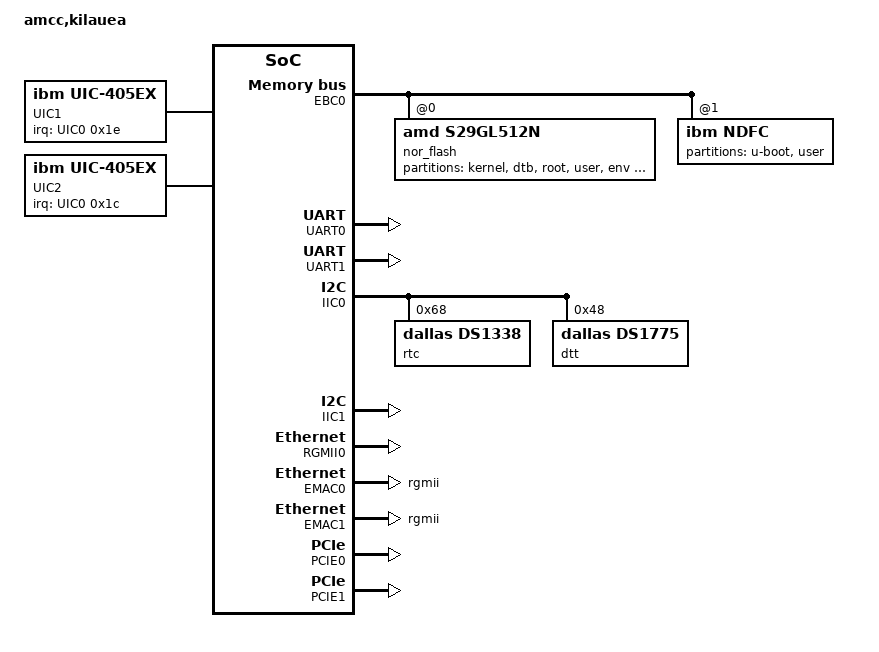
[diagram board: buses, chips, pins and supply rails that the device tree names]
/*
 * Device Tree Source for AMCC Kilauea (405EX)
 *
 * Copyright 2007-2009 DENX Software Engineering, Stefan Roese <sr@denx.de>
 *
 * This file is licensed under the terms of the GNU General Public
 * License version 2.  This program is licensed "as is" without
 * any warranty of any kind, whether express or implied.
 */

/dts-v1/;

/ {
	#address-cells = <1>;
	#size-cells = <1>;
	model = "amcc,kilauea";
	compatible = "amcc,kilauea";
	dcr-parent = <&{/cpus/cpu@0}>;

	aliases {
		ethernet0 = &EMAC0;
		ethernet1 = &EMAC1;
		serial0 = &UART0;
		serial1 = &UART1;
	};

	cpus {
		#address-cells = <1>;
		#size-cells = <0>;

		cpu@0 {
			device_type = "cpu";
			model = "PowerPC,405EX";
			reg = <0x00000000>;
			clock-frequency = <0>; /* Filled in by U-Boot */
			timebase-frequency = <0>; /* Filled in by U-Boot */
			i-cache-line-size = <32>;
			d-cache-line-size = <32>;
			i-cache-size = <16384>; /* 16 kB */
			d-cache-size = <16384>; /* 16 kB */
			dcr-controller;
			dcr-access-method = "native";
		};
	};

	memory {
		device_type = "memory";
		reg = <0x00000000 0x00000000>; /* Filled in by U-Boot */
	};

	UIC0: interrupt-controller {
		compatible = "ibm,uic-405ex", "ibm,uic";
		interrupt-controller;
		cell-index = <0>;
		dcr-reg = <0x0c0 0x009>;
		#address-cells = <0>;
		#size-cells = <0>;
		#interrupt-cells = <2>;
	};

	UIC1: interrupt-controller1 {
		compatible = "ibm,uic-405ex","ibm,uic";
		interrupt-controller;
		cell-index = <1>;
		dcr-reg = <0x0d0 0x009>;
		#address-cells = <0>;
		#size-cells = <0>;
		#interrupt-cells = <2>;
		interrupts = <0x1e 0x4 0x1f 0x4>; /* cascade */
		interrupt-parent = <&UIC0>;
	};

	UIC2: interrupt-controller2 {
		compatible = "ibm,uic-405ex","ibm,uic";
		interrupt-controller;
		cell-index = <2>;
		dcr-reg = <0x0e0 0x009>;
		#address-cells = <0>;
		#size-cells = <0>;
		#interrupt-cells = <2>;
		interrupts = <0x1c 0x4 0x1d 0x4>; /* cascade */
		interrupt-parent = <&UIC0>;
	};

	CPM0: cpm {
		compatible = "ibm,cpm";
		dcr-access-method = "native";
		dcr-reg = <0x0b0 0x003>;
		unused-units = <0x00000000>;
		idle-doze = <0x02000000>;
		standby = <0xe3e74800>;
	};

	plb {
		compatible = "ibm,plb-405ex", "ibm,plb4";
		#address-cells = <1>;
		#size-cells = <1>;
		ranges;
		clock-frequency = <0>; /* Filled in by U-Boot */

		SDRAM0: memory-controller {
			compatible = "ibm,sdram-405ex", "ibm,sdram-4xx-ddr2";
			dcr-reg = <0x010 0x002>;
			interrupt-parent = <&UIC2>;
			interrupts = <0x5 0x4	/* ECC DED Error */ 
				      0x6 0x4>;	/* ECC SEC Error */ 
		};

		CRYPTO: crypto@ef700000 {
			compatible = "amcc,ppc405ex-crypto", "amcc,ppc4xx-crypto";
			reg = <0xef700000 0x80400>;
			interrupt-parent = <&UIC0>;
			interrupts = <0x17 0x2>;
		};

		MAL0: mcmal {
			compatible = "ibm,mcmal-405ex", "ibm,mcmal2";
			dcr-reg = <0x180 0x062>;
			num-tx-chans = <2>;
			num-rx-chans = <2>;
			interrupt-parent = <&MAL0>;
			interrupts = <0x0 0x1 0x2 0x3 0x4>;
			#interrupt-cells = <1>;
			#address-cells = <0>;
			#size-cells = <0>;
			interrupt-map = </*TXEOB*/ 0x0 &UIC0 0xa 0x4
					/*RXEOB*/ 0x1 &UIC0 0xb 0x4
					/*SERR*/  0x2 &UIC1 0x0 0x4
					/*TXDE*/  0x3 &UIC1 0x1 0x4
					/*RXDE*/  0x4 &UIC1 0x2 0x4>;
			interrupt-map-mask = <0xffffffff>;
		};

		POB0: opb {
			compatible = "ibm,opb-405ex", "ibm,opb";
			#address-cells = <1>;
			#size-cells = <1>;
			ranges = <0x80000000 0x80000000 0x10000000
				  0xef600000 0xef600000 0x00a00000
				  0xf0000000 0xf0000000 0x10000000>;
			dcr-reg = <0x0a0 0x005>;
			clock-frequency = <0>; /* Filled in by U-Boot */

			EBC0: ebc {
				compatible = "ibm,ebc-405ex", "ibm,ebc";
				dcr-reg = <0x012 0x002>;
				#address-cells = <2>;
				#size-cells = <1>;
				clock-frequency = <0>; /* Filled in by U-Boot */
				/* ranges property is supplied by U-Boot */
				interrupts = <0x5 0x1>;
				interrupt-parent = <&UIC1>;

				nor_flash@0,0 {
					compatible = "amd,s29gl512n", "cfi-flash";
					bank-width = <2>;
					reg = <0x00000000 0x00000000 0x04000000>;
					#address-cells = <1>;
					#size-cells = <1>;
					partition@0 {
						label = "kernel";
						reg = <0x00000000 0x001e0000>;
					};
					partition@1e0000 {
						label = "dtb";
						reg = <0x001e0000 0x00020000>;
					};
					partition@200000 {
						label = "root";
						reg = <0x00200000 0x00200000>;
					};
					partition@400000 {
						label = "user";
						reg = <0x00400000 0x03b60000>;
					};
					partition@3f60000 {
						label = "env";
						reg = <0x03f60000 0x00040000>;
					};
					partition@3fa0000 {
						label = "u-boot";
						reg = <0x03fa0000 0x00060000>;
					};
				};

				ndfc@1,0 {
					compatible = "ibm,ndfc";
					reg = <0x00000001 0x00000000 0x00002000>;
					ccr = <0x00001000>;
					bank-settings = <0x80002222>;
					#address-cells = <1>;
					#size-cells = <1>;

					nand {
						#address-cells = <1>;
						#size-cells = <1>;

						partition@0 {
							label = "u-boot";
							reg = <0x00000000 0x00100000>;
						};
						partition@100000 {
							label = "user";
							reg = <0x00000000 0x03f00000>;
						};
					};
				};
			};

			UART0: serial@ef600200 {
				device_type = "serial";
				compatible = "ns16550";
				reg = <0xef600200 0x00000008>;
				virtual-reg = <0xef600200>;
				clock-frequency = <0>; /* Filled in by U-Boot */
				current-speed = <0>;
				interrupt-parent = <&UIC0>;
				interrupts = <0x1a 0x4>;
			};

			UART1: serial@ef600300 {
				device_type = "serial";
				compatible = "ns16550";
				reg = <0xef600300 0x00000008>;
				virtual-reg = <0xef600300>;
				clock-frequency = <0>; /* Filled in by U-Boot */
				current-speed = <0>;
				interrupt-parent = <&UIC0>;
				interrupts = <0x1 0x4>;
			};

			IIC0: i2c@ef600400 {
				compatible = "ibm,iic-405ex", "ibm,iic";
				reg = <0xef600400 0x00000014>;
				interrupt-parent = <&UIC0>;
				interrupts = <0x2 0x4>;
				#address-cells = <1>;
				#size-cells = <0>;

				rtc@68 {
					compatible = "dallas,ds1338";
					reg = <0x68>;
				};

				dtt@48 {
					compatible = "dallas,ds1775";
					reg = <0x48>;
				};
			};

			IIC1: i2c@ef600500 {
				compatible = "ibm,iic-405ex", "ibm,iic";
				reg = <0xef600500 0x00000014>;
				interrupt-parent = <&UIC0>;
				interrupts = <0x7 0x4>;
			};

			RGMII0: emac-rgmii@ef600b00 {
				compatible = "ibm,rgmii-405ex", "ibm,rgmii";
				reg = <0xef600b00 0x00000104>;
				has-mdio;
			};

			EMAC0: ethernet@ef600900 {
				linux,network-index = <0x0>;
				device_type = "network";
				compatible = "ibm,emac-405ex", "ibm,emac4sync";
				interrupt-parent = <&EMAC0>;
				interrupts = <0x0 0x1>;
				#interrupt-cells = <1>;
				#address-cells = <0>;
				#size-cells = <0>;
				interrupt-map = </*Status*/ 0x0 &UIC0 0x18 0x4
						/*Wake*/  0x1 &UIC1 0x1d 0x4>;
				reg = <0xef600900 0x000000c4>;
				local-mac-address = [000000000000]; /* Filled in by U-Boot */
				mal-device = <&MAL0>;
				mal-tx-channel = <0>;
				mal-rx-channel = <0>;
				cell-index = <0>;
				max-frame-size = <9000>;
				rx-fifo-size = <4096>;
				tx-fifo-size = <2048>;
				rx-fifo-size-gige = <16384>;
				tx-fifo-size-gige = <16384>;
				phy-mode = "rgmii";
				phy-map = <0x00000000>;
				rgmii-device = <&RGMII0>;
				rgmii-channel = <0>;
				has-inverted-stacr-oc;
				has-new-stacr-staopc;
			};

			EMAC1: ethernet@ef600a00 {
				linux,network-index = <0x1>;
				device_type = "network";
				compatible = "ibm,emac-405ex", "ibm,emac4sync";
				interrupt-parent = <&EMAC1>;
				interrupts = <0x0 0x1>;
				#interrupt-cells = <1>;
				#address-cells = <0>;
				#size-cells = <0>;
				interrupt-map = </*Status*/ 0x0 &UIC0 0x19 0x4
						/*Wake*/  0x1 &UIC1 0x1f 0x4>;
				reg = <0xef600a00 0x000000c4>;
				local-mac-address = [000000000000]; /* Filled in by U-Boot */
				mal-device = <&MAL0>;
				mal-tx-channel = <1>;
				mal-rx-channel = <1>;
				cell-index = <1>;
				max-frame-size = <9000>;
				rx-fifo-size = <4096>;
				tx-fifo-size = <2048>;
				rx-fifo-size-gige = <16384>;
				tx-fifo-size-gige = <16384>;
				phy-mode = "rgmii";
				phy-map = <0x00000000>;
				rgmii-device = <&RGMII0>;
				rgmii-channel = <1>;
				has-inverted-stacr-oc;
				has-new-stacr-staopc;
			};
		};

		PCIE0: pcie@a0000000 {
			device_type = "pci";
			#interrupt-cells = <1>;
			#size-cells = <2>;
			#address-cells = <3>;
			compatible = "ibm,plb-pciex-405ex", "ibm,plb-pciex";
			primary;
			port = <0x0>; /* port number */
			reg = <0xa0000000 0x20000000	/* Config space access */
			       0xef000000 0x00001000>;	/* Registers */
			dcr-reg = <0x040 0x020>;
			sdr-base = <0x400>;

			/* Outbound ranges, one memory and one IO,
			 * later cannot be changed
			 */
			ranges = <0x02000000 0x00000000 0x80000000 0x90000000 0x00000000 0x08000000
				  0x01000000 0x00000000 0x00000000 0xe0000000 0x00000000 0x00010000>;

			/* Inbound 2GB range starting at 0 */
			dma-ranges = <0x42000000 0x0 0x0 0x0 0x0 0x80000000>;

			/* This drives busses 0x00 to 0x3f */
			bus-range = <0x0 0x3f>;

			/* Legacy interrupts (note the weird polarity, the bridge seems
			 * to invert PCIe legacy interrupts).
			 * We are de-swizzling here because the numbers are actually for
			 * port of the root complex virtual P2P bridge. But I want
			 * to avoid putting a node for it in the tree, so the numbers
			 * below are basically de-swizzled numbers.
			 * The real slot is on idsel 0, so the swizzling is 1:1
			 */
			interrupt-map-mask = <0x0 0x0 0x0 0x7>;
			interrupt-map = <
				0x0 0x0 0x0 0x1 &UIC2 0x0 0x4 /* swizzled int A */
				0x0 0x0 0x0 0x2 &UIC2 0x1 0x4 /* swizzled int B */
				0x0 0x0 0x0 0x3 &UIC2 0x2 0x4 /* swizzled int C */
				0x0 0x0 0x0 0x4 &UIC2 0x3 0x4 /* swizzled int D */>;
		};

		PCIE1: pcie@c0000000 {
			device_type = "pci";
			#interrupt-cells = <1>;
			#size-cells = <2>;
			#address-cells = <3>;
			compatible = "ibm,plb-pciex-405ex", "ibm,plb-pciex";
			primary;
			port = <0x1>; /* port number */
			reg = <0xc0000000 0x20000000	/* Config space access */
			       0xef001000 0x00001000>;	/* Registers */
			dcr-reg = <0x060 0x020>;
			sdr-base = <0x440>;

			/* Outbound ranges, one memory and one IO,
			 * later cannot be changed
			 */
			ranges = <0x02000000 0x00000000 0x80000000 0x98000000 0x00000000 0x08000000
				  0x01000000 0x00000000 0x00000000 0xe0010000 0x00000000 0x00010000>;

			/* Inbound 2GB range starting at 0 */
			dma-ranges = <0x42000000 0x0 0x0 0x0 0x0 0x80000000>;

			/* This drives busses 0x40 to 0x7f */
			bus-range = <0x40 0x7f>;

			/* Legacy interrupts (note the weird polarity, the bridge seems
			 * to invert PCIe legacy interrupts).
			 * We are de-swizzling here because the numbers are actually for
			 * port of the root complex virtual P2P bridge. But I want
			 * to avoid putting a node for it in the tree, so the numbers
			 * below are basically de-swizzled numbers.
			 * The real slot is on idsel 0, so the swizzling is 1:1
			 */
			interrupt-map-mask = <0x0 0x0 0x0 0x7>;
			interrupt-map = <
				0x0 0x0 0x0 0x1 &UIC2 0xb 0x4 /* swizzled int A */
				0x0 0x0 0x0 0x2 &UIC2 0xc 0x4 /* swizzled int B */
				0x0 0x0 0x0 0x3 &UIC2 0xd 0x4 /* swizzled int C */
				0x0 0x0 0x0 0x4 &UIC2 0xe 0x4 /* swizzled int D */>;
		};

		MSI: ppc4xx-msi@C10000000 {
			compatible = "amcc,ppc4xx-msi", "ppc4xx-msi";
			reg = <0xEF620000 0x100>;
			sdr-base = <0x4B0>;
			msi-data = <0x00000000>;
			msi-mask = <0x44440000>;
			interrupt-count = <12>;
			interrupts = <0 1 2 3 4 5 6 7 8 9 0xA 0xB 0xC 0xD>;
			interrupt-parent = <&UIC2>;
			#interrupt-cells = <1>;
			#address-cells = <0>;
			#size-cells = <0>;
			interrupt-map = <0 &UIC2 0x10 1
					1 &UIC2 0x11 1
					2 &UIC2 0x12 1
					2 &UIC2 0x13 1
					2 &UIC2 0x14 1
					2 &UIC2 0x15 1
					2 &UIC2 0x16 1
					2 &UIC2 0x17 1
					2 &UIC2 0x18 1
					2 &UIC2 0x19 1
					2 &UIC2 0x1A 1
					2 &UIC2 0x1B 1
					2 &UIC2 0x1C 1
					3 &UIC2 0x1D 1>;
		};
	};
};
